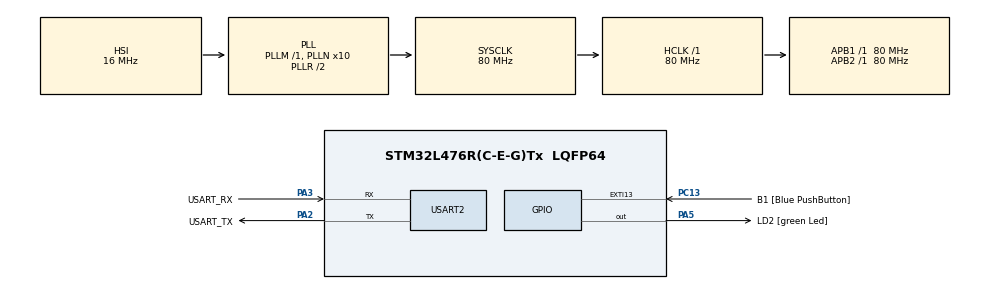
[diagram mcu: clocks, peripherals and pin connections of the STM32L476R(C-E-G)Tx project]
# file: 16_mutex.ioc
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FREERTOS.Tasks01=defaultTask,0,128,StartDefaultTask,Default,NULL,Dynamic,NULL,NULL
Mcu.Family=STM32L4
Mcu.Name=STM32L476R(C-E-G)Tx
Mcu.Package=LQFP64
NVIC.PriorityGroup=NVIC_PRIORITYGROUP_4
PA13\ (JTMS-SWDIO).GPIO_Label=TMS
PA13\ (JTMS-SWDIO).Mode=Serial_Wire
PA13\ (JTMS-SWDIO).Signal=SYS_JTMS-SWDIO
PA14\ (JTCK-SWCLK).GPIO_Label=TCK
PA14\ (JTCK-SWCLK).Mode=Serial_Wire
PA14\ (JTCK-SWCLK).Signal=SYS_JTCK-SWCLK
PA2.GPIO_Label=USART_TX
PA2.GPIO_Mode=GPIO_MODE_AF_PP
PA2.GPIO_PuPd=GPIO_NOPULL
PA2.GPIO_Speed=GPIO_SPEED_FREQ_VERY_HIGH
PA2.Mode=Asynchronous
PA2.Signal=USART2_TX
PA3.GPIO_Label=USART_RX
PA3.GPIO_Mode=GPIO_MODE_AF_PP
PA3.GPIO_PuPd=GPIO_NOPULL
PA3.GPIO_Speed=GPIO_SPEED_FREQ_VERY_HIGH
PA3.Mode=Asynchronous
PA3.Signal=USART2_RX
PA5.GPIO_Label=LD2 [green Led]
PA5.GPIO_ModeDefaultOutputPP=GPIO_MODE_OUTPUT_PP
PA5.GPIO_PuPd=GPIO_NOPULL
PA5.GPIO_Speed=GPIO_SPEED_FREQ_LOW
PA5.Signal=GPIO_Output
PB3\ (JTDO-TRACESWO).GPIO_Label=SWO
PB3\ (JTDO-TRACESWO).Signal=SYS_JTDO-SWO
PC13.GPIO_Label=B1 [Blue PushButton]
PC13.GPIO_ModeDefaultEXTI=GPIO_MODE_IT_FALLING
PC13.GPIO_PuPd=GPIO_NOPULL
PC13.Signal=GPXTI13
PC14-OSC32_IN\ (PC14).Mode=LSE-External-Oscillator
PC14-OSC32_IN\ (PC14).Signal=RCC_OSC32_IN
PC15-OSC32_OUT\ (PC15).Mode=LSE-External-Oscillator
PC15-OSC32_OUT\ (PC15).Signal=RCC_OSC32_OUT
PH0-OSC_IN\ (PH0).Signal=RCC_OSC_IN
PH1-OSC_OUT\ (PH1).Signal=RCC_OSC_OUT
ProjectManager.HeapSize=0x200
ProjectManager.StackSize=0x400
ProjectManager.TargetToolchain=STM32CubeIDE
RCC.ADCFreq_Value=64000000
RCC.AHBFreq_Value=80000000
RCC.APB1Freq_Value=80000000
RCC.APB1TimFreq_Value=80000000
RCC.APB2Freq_Value=80000000
RCC.APB2TimFreq_Value=80000000
RCC.CortexFreq_Value=80000000
RCC.HCLKFreq_Value=80000000
RCC.HSE_VALUE=8000000
RCC.HSI_VALUE=16000000
RCC.MSI_VALUE=4000000
RCC.PLLN=10
RCC.PLLSourceVirtual=RCC_PLLSOURCE_HSI
RCC.PREFETCH_ENABLE=1
RCC.SYSCLKFreq_VALUE=80000000
RCC.SYSCLKSource=RCC_SYSCLKSOURCE_PLLCLK
RCC.USBFreq_Value=64000000
RCC.VCOOutputFreq_Value=160000000
USART2.VirtualMode-Asynchronous=VM_ASYNC
VP_FREERTOS_VS_CMSIS_V1.Mode=CMSIS_V1
board=NUCLEO-L476RG

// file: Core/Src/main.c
/* USER CODE BEGIN Header */
/**
  ******************************************************************************
  * @file           : main.c
  * @brief          : Main program body
  ******************************************************************************
  * @attention
  *
  * Copyright (c) 2025 STMicroelectronics.
  * All rights reserved.
  *
  * This software is licensed under terms that can be found in the LICENSE file
  * in the root directory of this software component.
  * If no LICENSE file comes with this software, it is provided AS-IS.
  *
  ******************************************************************************
  */

/* USER CODE END Header */
#include "main.h"
#include "cmsis_os.h"

/* USER CODE BEGIN Includes */
#include "semphr.h"
#include <string.h>

/* USER CODE END Includes */

UART_HandleTypeDef huart2;

osThreadId defaultTaskHandle;
/* USER CODE BEGIN PV */
// Mutex handle
SemaphoreHandle_t xUartMutex;

/* USER CODE END PV */

void SystemClock_Config(void);
static void MX_GPIO_Init(void);
static void MX_USART2_UART_Init(void);
void StartDefaultTask(void const * argument);

/* USER CODE BEGIN 0 */

// Function to send string over UART safely
void uart_send(char *msg)
{
    HAL_UART_Transmit(&huart2, (uint8_t*)msg, strlen(msg), HAL_MAX_DELAY);
}

// Task 1
void Task1(void *argument)
{
    while(1)
    {
        // Take mutex before using UART
        if(xSemaphoreTake(xUartMutex, portMAX_DELAY) == pdTRUE)
        {
            uart_send("Task 1: Hello from Task 1\r\n");
            xSemaphoreGive(xUartMutex);  // Release mutex
        }
        vTaskDelay(pdMS_TO_TICKS(1000)); // Delay 1 second
    }
}

// Task 2
void Task2(void *argument)
{
    while(1)
    {
        // Take mutex before using UART
        if(xSemaphoreTake(xUartMutex, portMAX_DELAY) == pdTRUE)
        {
            uart_send("Task 2: Hello from Task 2\r\n");
            xSemaphoreGive(xUartMutex);  // Release mutex
        }
        vTaskDelay(pdMS_TO_TICKS(1500)); // Delay 1.5 seconds
    }
}

/* USER CODE END 0 */

int main(void)
{

  /* MCU Configuration--------------------------------------------------------*/

  /* Reset of all peripherals, Initializes the Flash interface and the Systick. */
  HAL_Init();

  /* Configure the system clock */
  SystemClock_Config();

  /* Initialize all configured peripherals */
  MX_GPIO_Init();
  MX_USART2_UART_Init();

  /* Create the thread(s) */
  /* definition and creation of defaultTask */
  osThreadDef(defaultTask, StartDefaultTask, osPriorityNormal, 0, 128);
  defaultTaskHandle = osThreadCreate(osThread(defaultTask), NULL);

  /* USER CODE BEGIN RTOS_THREADS */
  /* add threads, ... */

  // Create mutex
      xUartMutex = xSemaphoreCreateMutex();

      if(xUartMutex != NULL)
      {
          // Create tasks
          xTaskCreate(Task1, "Task1", 128, NULL, 1, NULL);
          xTaskCreate(Task2, "Task2", 128, NULL, 1, NULL);

      }

  /* USER CODE END RTOS_THREADS */

  /* Start scheduler */
  osKernelStart();

  /* We should never get here as control is now taken by the scheduler */

  /* Infinite loop */
  while (1)
  {

  }
}

void SystemClock_Config(void)
{
  RCC_OscInitTypeDef RCC_OscInitStruct = {0};
  RCC_ClkInitTypeDef RCC_ClkInitStruct = {0};

  /** Configure the main internal regulator output voltage
  */
  if (HAL_PWREx_ControlVoltageScaling(PWR_REGULATOR_VOLTAGE_SCALE1) != HAL_OK)
  {
    Error_Handler();
  }

  /** Initializes the RCC Oscillators according to the specified parameters
  * in the RCC_OscInitTypeDef structure.
  */
  RCC_OscInitStruct.OscillatorType = RCC_OSCILLATORTYPE_HSI;
  RCC_OscInitStruct.HSIState = RCC_HSI_ON;
  RCC_OscInitStruct.HSICalibrationValue = RCC_HSICALIBRATION_DEFAULT;
  RCC_OscInitStruct.PLL.PLLState = RCC_PLL_ON;
  RCC_OscInitStruct.PLL.PLLSource = RCC_PLLSOURCE_HSI;
  RCC_OscInitStruct.PLL.PLLM = 1;
  RCC_OscInitStruct.PLL.PLLN = 10;
  RCC_OscInitStruct.PLL.PLLP = RCC_PLLP_DIV7;
  RCC_OscInitStruct.PLL.PLLQ = RCC_PLLQ_DIV2;
  RCC_OscInitStruct.PLL.PLLR = RCC_PLLR_DIV2;
  if (HAL_RCC_OscConfig(&RCC_OscInitStruct) != HAL_OK)
  {
    Error_Handler();
  }

  /** Initializes the CPU, AHB and APB buses clocks
  */
  RCC_ClkInitStruct.ClockType = RCC_CLOCKTYPE_HCLK|RCC_CLOCKTYPE_SYSCLK
                              |RCC_CLOCKTYPE_PCLK1|RCC_CLOCKTYPE_PCLK2;
  RCC_ClkInitStruct.SYSCLKSource = RCC_SYSCLKSOURCE_PLLCLK;
  RCC_ClkInitStruct.AHBCLKDivider = RCC_SYSCLK_DIV1;
  RCC_ClkInitStruct.APB1CLKDivider = RCC_HCLK_DIV1;
  RCC_ClkInitStruct.APB2CLKDivider = RCC_HCLK_DIV1;

  if (HAL_RCC_ClockConfig(&RCC_ClkInitStruct, FLASH_LATENCY_4) != HAL_OK)
  {
    Error_Handler();
  }
}

static void MX_USART2_UART_Init(void)
{

  huart2.Instance = USART2;
  huart2.Init.BaudRate = 115200;
  huart2.Init.WordLength = UART_WORDLENGTH_8B;
  huart2.Init.StopBits = UART_STOPBITS_1;
  huart2.Init.Parity = UART_PARITY_NONE;
  huart2.Init.Mode = UART_MODE_TX_RX;
  huart2.Init.HwFlowCtl = UART_HWCONTROL_NONE;
  huart2.Init.OverSampling = UART_OVERSAMPLING_16;
  huart2.Init.OneBitSampling = UART_ONE_BIT_SAMPLE_DISABLE;
  huart2.AdvancedInit.AdvFeatureInit = UART_ADVFEATURE_NO_INIT;
  if (HAL_UART_Init(&huart2) != HAL_OK)
  {
    Error_Handler();
  }

}

static void MX_GPIO_Init(void)
{
  GPIO_InitTypeDef GPIO_InitStruct = {0};

  /* GPIO Ports Clock Enable */
  __HAL_RCC_GPIOC_CLK_ENABLE();
  __HAL_RCC_GPIOH_CLK_ENABLE();
  __HAL_RCC_GPIOA_CLK_ENABLE();
  __HAL_RCC_GPIOB_CLK_ENABLE();

  /*Configure GPIO pin Output Level */
  HAL_GPIO_WritePin(LD2_GPIO_Port, LD2_Pin, GPIO_PIN_RESET);

  /*Configure GPIO pin : B1_Pin */
  GPIO_InitStruct.Pin = B1_Pin;
  GPIO_InitStruct.Mode = GPIO_MODE_IT_FALLING;
  GPIO_InitStruct.Pull = GPIO_NOPULL;
  HAL_GPIO_Init(B1_GPIO_Port, &GPIO_InitStruct);

  /*Configure GPIO pin : LD2_Pin */
  GPIO_InitStruct.Pin = LD2_Pin;
  GPIO_InitStruct.Mode = GPIO_MODE_OUTPUT_PP;
  GPIO_InitStruct.Pull = GPIO_NOPULL;
  GPIO_InitStruct.Speed = GPIO_SPEED_FREQ_LOW;
  HAL_GPIO_Init(LD2_GPIO_Port, &GPIO_InitStruct);

}

void StartDefaultTask(void const * argument)
{
  for(;;)
  {
    osDelay(1);
  }
}

void Error_Handler(void)
{
  __disable_irq();
  while (1)
  {
  }
}
